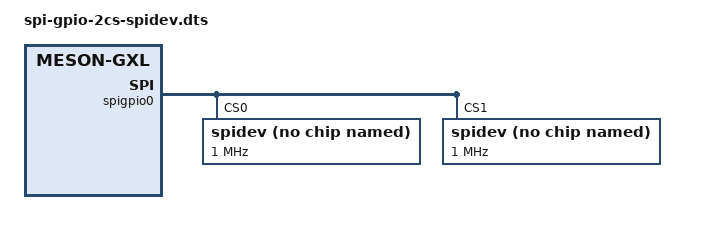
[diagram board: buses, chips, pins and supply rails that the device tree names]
// SPDX-License-Identifier: (GPL-2.0-or-later OR MIT)
/*
 * Copyright (c) 2022 Da Xue
 * Author: Da Xue <da@libre.computer>
 */
/*
 * Summary: spi-gpio-2cs-spidev
 */
/dts-v1/;
/plugin/;

#include <dt-bindings/gpio/gpio.h>
#include <dt-bindings/gpio/meson-gxl-gpio.h>

/ {
	compatible = "libre-computer,aml-s905x-cc",
		"libretech,aml-s905x-cc",
		"libre-computer,aml-s905x-cc-v2",
		"libretech,aml-s905x-cc-v2",
		"libre-computer,aml-s905x-cc-v3",
		"libretech,aml-s905x-cc-v3",
		"amlogic,s905x",
		"amlogic,meson-gxl";

	fragment@0 {
		target = <&spigpio0>;
		
		__overlay__ {
			spidev@0 {
				compatible = "rohm,dh2228fv";
				reg = <0>;
				spi-max-frequency = <1000000>;
			};
			spidev@1 {
				compatible = "rohm,dh2228fv";
				reg = <1>;
				spi-max-frequency = <1000000>;
			};
		};
	};
};
